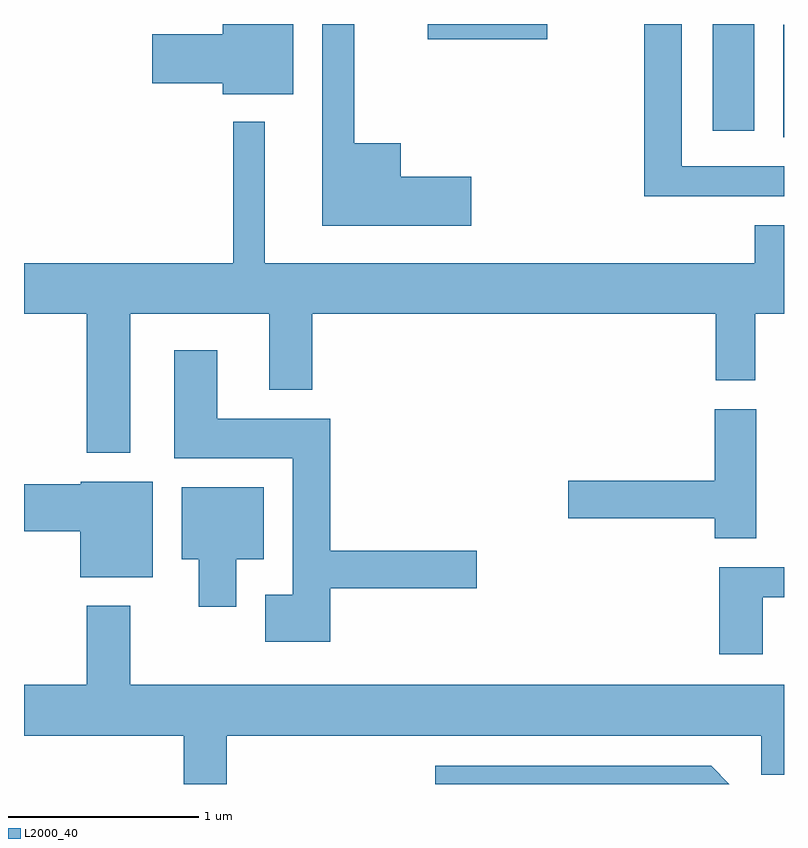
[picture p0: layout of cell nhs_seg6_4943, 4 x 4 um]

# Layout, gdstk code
import gdstk
lib = gdstk.Library(unit=1e-6, precision=1e-09)
def R(c, l, rs):  # rectangles x0, y0, x1, y1
    for r in rs: c.add(gdstk.rectangle(r[:2], r[2:], *l))
def P(c, l, *ps):  # polygons
    for p in ps: c.add(gdstk.Polygon(p, *l))
L2000_40 = (2000, 40)

nhs_seg6_4943 = lib.new_cell('nhs_seg6_4943')
R(nhs_seg6_4943, L2000_40, [(339.606,1617.566,339.611,1618.159), (339.236,1617.601,339.454,1618.162), (337.736,1618.081,338.364,1618.162)])
P(nhs_seg6_4943, L2000_40, [(339.611,1617.414),(339.074,1617.414),(339.074,1618.162),(338.876,1618.162),(338.876,1617.256),(339.611,1617.256)],
  [(337.029,1618.162),(336.656,1618.162),(336.656,1618.109),(336.286,1618.109),(336.286,1617.851),(336.656,1617.851),(336.656,1617.791),(337.029,1617.791)],
  [(337.964,1617.359),(337.594,1617.359),(337.594,1617.534),(337.349,1617.534),(337.349,1618.162),(337.181,1618.162),(337.181,1617.101),(337.964,1617.101)],
  [(336.169,1616.636),(336.901,1616.636),(336.901,1616.236),(337.129,1616.236),(337.129,1616.636),(339.251,1616.636),(339.251,1616.286),(339.459,1616.286),(339.459,1616.636),(339.611,1616.636),(339.611,1617.104),(339.456,1617.104),(339.456,1616.904),(336.879,1616.904),(336.879,1617.648),(336.711,1617.648),(336.711,1616.904),(335.611,1616.904),(335.611,1616.636),(335.941,1616.636),(335.941,1615.906),(336.169,1615.906)],
  [(337.224,1615.191),(337.994,1615.191),(337.994,1615.389),(337.224,1615.389),(337.224,1616.084),(336.629,1616.084),(336.629,1616.444),(336.401,1616.444),(336.401,1615.876),(337.026,1615.876),(337.026,1615.159),(336.881,1615.159),(336.881,1614.911),(337.224,1614.911)],
  [(339.464,1616.134),(339.246,1616.134),(339.246,1615.759),(338.476,1615.759),(338.476,1615.561),(339.246,1615.561),(339.246,1615.456),(339.464,1615.456)],
  [(336.289,1615.754),(335.91,1615.754),(335.91,1615.739),(335.611,1615.739),(335.611,1615.491),(335.906,1615.491),(335.906,1615.251),(336.289,1615.251)],
  [(336.729,1615.346),(336.874,1615.346),(336.874,1615.724),(336.441,1615.724),(336.441,1615.346),(336.531,1615.346),(336.531,1615.096),(336.729,1615.096)],
  [(339.499,1615.146),(339.611,1615.146),(339.611,1615.304),(339.271,1615.304),(339.271,1614.846),(339.499,1614.846)],
  [(336.679,1614.416),(339.491,1614.416),(339.491,1614.211),(339.611,1614.211),(339.611,1614.684),(336.169,1614.684),(336.169,1615.099),(335.941,1615.099),(335.941,1614.684),(335.611,1614.684),(335.611,1614.416),(336.451,1614.416),(336.451,1614.162),(336.679,1614.162)],
  [(339.227,1614.259),(337.776,1614.259),(337.776,1614.162),(339.324,1614.162)])

lib.write_gds('nhs_seg6_4943.gds')
